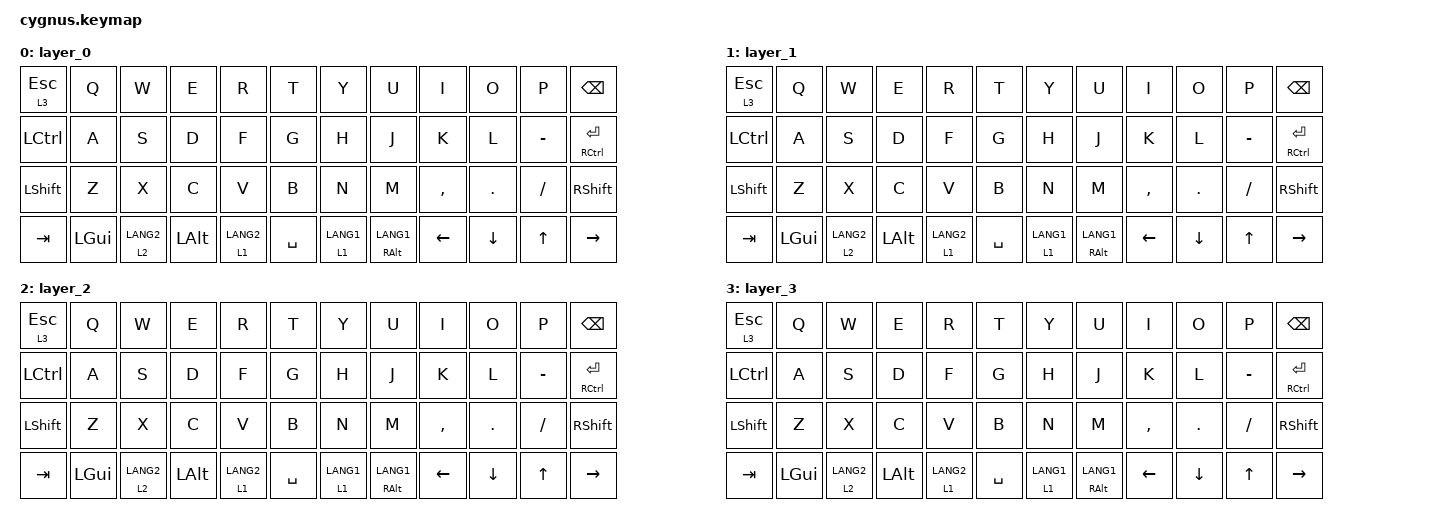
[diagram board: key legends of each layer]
/*
 * Copyright (c) 2020 The ZMK Contributors
 *
 * SPDX-License-Identifier: MIT
 */
#include <dt-bindings/zmk/mouse.h>
#include <behaviors.dtsi>
#include <dt-bindings/zmk/bt.h>
#include <dt-bindings/zmk/keys.h>
#include <dt-bindings/zmk/outputs.h>

&mt {
    tapping-term-ms = <200>;
    flavor = "tap-preferred";
};

&sk {
    release-after-ms = <2000>;
    quick-release;
};

/ {
    combos {
        compatible = "zmk,combos";

        left_bkt {
            bindings = <&kp LBKT>;
            key-positions = <3 2>;
            timeout-ms = <50>;
        };

        right_bkt {
            bindings = <&kp RBKT>;
            key-positions = <6 7>;
            timeout-ms = <50>;
        };

        left_par {
            bindings = <&kp LEFT_PARENTHESIS>;
            key-positions = <12 13>;
            timeout-ms = <50>;
        };

        right_par {
            bindings = <&kp RIGHT_PARENTHESIS>;
            key-positions = <16 17>;
            timeout-ms = <50>;
        };

        left_brace {
            bindings = <&kp LEFT_BRACE>;
            key-positions = <23 22>;
            timeout-ms = <50>;
        };

        right_brace {
            bindings = <&kp RIGHT_BRACE>;
            key-positions = <26 27>;
            timeout-ms = <50>;
        };

        bac {
            bindings = <&kp BACKSLASH>;
            key-positions = <4 5>;
        };

        pipe {
            bindings = <&kp PIPE>;
            key-positions = <14 15>;
        };
    };

    behaviors {
        hm: homerow_mods {
            compatible = "zmk,behavior-hold-tap";
            label = "HOMEROW_MODS";
            #binding-cells = <2>;
            tapping-term-ms = <200>;
            quick_tap_ms = <0>;
            flavor = "tap-preferred";
            bindings = <&kp>, <&kp>;

            quick-tap-ms = <180>;
            global-quick-tap;
        };

        ltq: ltq {
            compatible = "zmk,behavior-hold-tap";
            label = "LTQ";
            #binding-cells = <2>;
            tapping-term-ms = <200>;
            quick_tap_ms = <0>;
            flavor = "hold-preferred";
            bindings = <&mo>, <&kp>;

            quick-tap-ms = <180>;
            global-quick-tap;
        };

        as: as {
            compatible = "zmk,behavior-hold-tap";
            label = "AUTO_SHIFT";
            bindings = <&kp>, <&kp>;

            #binding-cells = <2>;
            tapping-term-ms = <135>;
            quick-tap-ms = <0>;
            flavor = "tap-preferred";
        };
    };

    keymap {
        compatible = "zmk,keymap";

        layer_0 {
            bindings = <
&lt 3 ESCAPE      &kp Q         &kp W        &kp E         &kp R        &kp T        &kp Y        &kp U               &kp I           &kp O           &kp P         &kp BACKSPACE
&kp LEFT_CONTROL  &kp A         &kp S        &kp D         &kp F        &kp G        &kp H        &kp J               &kp K           &kp L           &kp MINUS     &mt RIGHT_CONTROL RETURN
&kp LEFT_SHIFT    &kp Z         &kp X        &kp C         &kp V        &kp B        &kp N        &kp M               &kp COMMA       &kp DOT         &kp SLASH     &kp RIGHT_SHIFT
&kp TAB           &kp LEFT_GUI  &lt 2 LANG2  &kp LEFT_ALT  &lt 1 LANG2  &kp SPACE    &lt 1 LANG1  &mt RIGHT_ALT LANG1 &kp LEFT_ARROW  &kp DOWN        &kp UP        &kp RIGHT
            >;
        };

        layer_1{
            bindings = <
&lt 3 ESCAPE      &kp Q         &kp W        &kp E         &kp R        &kp T        &kp Y        &kp U               &kp I           &kp O           &kp P         &kp BACKSPACE
&kp LEFT_CONTROL  &kp A         &kp S        &kp D         &kp F        &kp G        &kp H        &kp J               &kp K           &kp L           &kp MINUS     &mt RIGHT_CONTROL RETURN
&kp LEFT_SHIFT    &kp Z         &kp X        &kp C         &kp V        &kp B        &kp N        &kp M               &kp COMMA       &kp DOT         &kp SLASH     &kp RIGHT_SHIFT
&kp TAB           &kp LEFT_GUI  &lt 2 LANG2  &kp LEFT_ALT  &lt 1 LANG2  &kp SPACE    &lt 1 LANG1  &mt RIGHT_ALT LANG1 &kp LEFT_ARROW  &kp DOWN        &kp UP        &kp RIGHT
            >;
        };

        layer_2 {
            bindings = <
&lt 3 ESCAPE      &kp Q         &kp W        &kp E         &kp R        &kp T        &kp Y        &kp U               &kp I           &kp O           &kp P         &kp BACKSPACE
&kp LEFT_CONTROL  &kp A         &kp S        &kp D         &kp F        &kp G        &kp H        &kp J               &kp K           &kp L           &kp MINUS     &mt RIGHT_CONTROL RETURN
&kp LEFT_SHIFT    &kp Z         &kp X        &kp C         &kp V        &kp B        &kp N        &kp M               &kp COMMA       &kp DOT         &kp SLASH     &kp RIGHT_SHIFT
&kp TAB           &kp LEFT_GUI  &lt 2 LANG2  &kp LEFT_ALT  &lt 1 LANG2  &kp SPACE    &lt 1 LANG1  &mt RIGHT_ALT LANG1 &kp LEFT_ARROW  &kp DOWN        &kp UP        &kp RIGHT
            >;
        };

        layer_3 {
            bindings = <
&lt 3 ESCAPE      &kp Q         &kp W        &kp E         &kp R        &kp T        &kp Y        &kp U               &kp I           &kp O           &kp P         &kp BACKSPACE
&kp LEFT_CONTROL  &kp A         &kp S        &kp D         &kp F        &kp G        &kp H        &kp J               &kp K           &kp L           &kp MINUS     &mt RIGHT_CONTROL RETURN
&kp LEFT_SHIFT    &kp Z         &kp X        &kp C         &kp V        &kp B        &kp N        &kp M               &kp COMMA       &kp DOT         &kp SLASH     &kp RIGHT_SHIFT
&kp TAB           &kp LEFT_GUI  &lt 2 LANG2  &kp LEFT_ALT  &lt 1 LANG2  &kp SPACE    &lt 1 LANG1  &mt RIGHT_ALT LANG1 &kp LEFT_ARROW  &kp DOWN        &kp UP        &kp RIGHT
            >;
        };

    };
};
